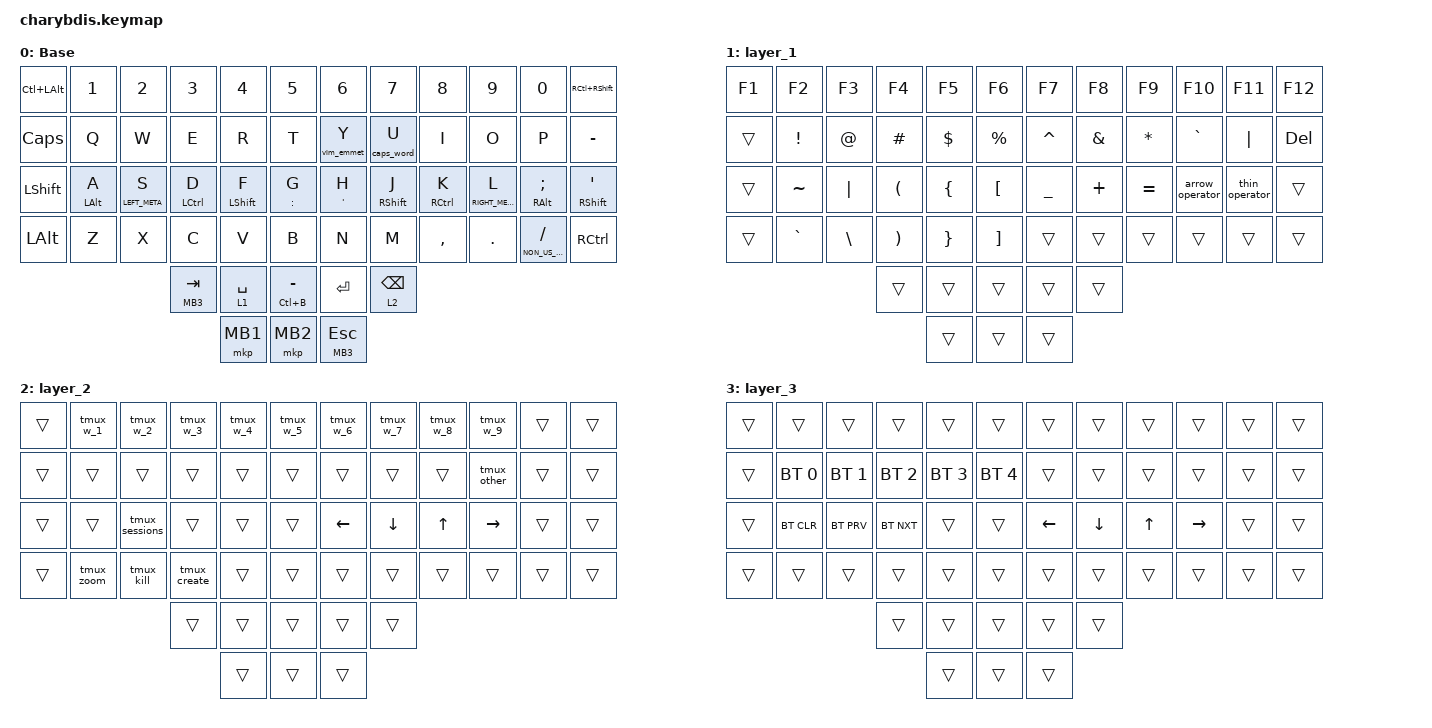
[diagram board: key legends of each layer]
#include <dt-bindings/zmk/mouse.h>
#include <behaviors.dtsi>
#include <dt-bindings/zmk/bt.h>
#include <dt-bindings/zmk/keys.h>
#include <dt-bindings/zmk/pointing.h>

&mt { flavor = "tap-preferred"; };

&lt {
    tapping-term-ms = <200>;
    flavor = "tap-preferred";
    quick-tap-ms = <150>;
};

/ {
    combos {
        compatible = "zmk,combos";

        escc {
            bindings = <&kp ESC>;
            key-positions = <17 18>;
            layers = <2>;
        };
    };

    behaviors {
        mt_mkp: mt_mkp {
            compatible = "zmk,behavior-hold-tap";
            label = "MT_MKP";
            bindings = <&mkp>, <&kp>;

            #binding-cells = <2>;
            hold-trigger-key-positions = <55>;
            flavor = "tap-preferred";
            tapping-term-ms = <250>;
        };

        mt_vim_emmet: mt_vim_emmet {
            compatible = "zmk,behavior-hold-tap";
            label = "MT_VIM_EMMET";
            bindings = <&vim_emmet>, <&kp>;

            #binding-cells = <2>;
            tapping-term-ms = <200>;
            hold-trigger-key-positions = <18>;
            flavor = "tap-preferred";
        };

        mt_capsword: mt_capsword {
            compatible = "zmk,behavior-hold-tap";
            label = "MT_CAPSWORD";
            bindings = <&caps_word>, <&kp>;

            #binding-cells = <2>;
            tapping-term-ms = <200>;
            flavor = "tap-preferred";
            hold-trigger-key-positions = <19>;
        };
    };

    macros {
        arrow_operator: arrow_operator {
            compatible = "zmk,behavior-macro";
            #binding-cells = <0>;
            bindings = <&kp EQUAL &kp GT>;
            label = "ARROW_OPERATOR";
        };

        thin_operator: thin_operator {
            compatible = "zmk,behavior-macro";
            #binding-cells = <0>;
            bindings = <&kp MINUS &kp GT>;
            label = "THIN_OPERATOR";
        };

        vim_emmet: vim_emmet {
            compatible = "zmk,behavior-macro";
            #binding-cells = <0>;
            bindings = <&kp LC(Y) &kp COMMA>;
            label = "VIM_EMMET";
        };

        tmux_zoom: vim_buffer {
            compatible = "zmk,behavior-macro";
            #binding-cells = <0>;
            bindings = <&kp LC(B) &kp Z>;
            label = "VIM_BUFFER";
        };

        tmux_other: tmux_other {
            compatible = "zmk,behavior-macro";
            #binding-cells = <0>;
            bindings = <&kp LC(B) &kp O>;
            label = "TMUX_OTHER";
        };

        tmux_kill: tmux_kill {
            compatible = "zmk,behavior-macro";
            #binding-cells = <0>;
            bindings = <&kp LC(B) &kp X>;
            label = "TMUX_KILL";
        };

        tmux_w_1: tmux_w_1 {
            compatible = "zmk,behavior-macro";
            #binding-cells = <0>;
            bindings = <&kp LC(B) &kp NUMBER_1>;
            label = "TMUX_W_1";
        };

        tmux_w_2: tmux_w_2 {
            compatible = "zmk,behavior-macro";
            #binding-cells = <0>;
            bindings = <&kp LC(B) &kp NUMBER_2>;
            label = "TMUX_W_2";
        };

        tmux_w_3: tmux_w_3 {
            compatible = "zmk,behavior-macro";
            #binding-cells = <0>;
            bindings = <&kp LC(B) &kp NUMBER_3>;
            label = "TMUX_W_3";
        };

        tmux_w_4: tmux_w_4 {
            compatible = "zmk,behavior-macro";
            #binding-cells = <0>;
            bindings = <&kp LC(B) &kp NUMBER_4>;
            label = "TMUX_W_4";
        };

        tmux_w_5: tmux_w_5 {
            compatible = "zmk,behavior-macro";
            #binding-cells = <0>;
            bindings = <&kp LC(B) &kp NUMBER_5>;
            label = "TMUX_W_5";
        };

        tmux_w_6: tmux_w_6 {
            compatible = "zmk,behavior-macro";
            #binding-cells = <0>;
            bindings = <&kp LC(B) &kp NUMBER_6>;
            label = "TMUX_W_6";
        };

        tmux_w_7: tmux_w_7 {
            compatible = "zmk,behavior-macro";
            #binding-cells = <0>;
            bindings = <&kp LC(B) &kp NUMBER_7>;
            label = "TMUX_W_7";
        };

        tmux_w_8: tmux_w_8 {
            compatible = "zmk,behavior-macro";
            #binding-cells = <0>;
            bindings = <&kp LC(B) &kp NUMBER_8>;
            label = "TMUX_W_8";
        };

        tmux_w_9: tmux_w_9 {
            compatible = "zmk,behavior-macro";
            #binding-cells = <0>;
            bindings = <&kp LC(B) &kp NUMBER_9>;
            label = "TMUX_W_9";
        };

        tmux_create: tmux_create {
            compatible = "zmk,behavior-macro";
            #binding-cells = <0>;
            bindings = <&kp LC(B) &kp C>;
            label = "TMUX_CREATE";
        };

        tmux_left: tmux_left {
            compatible = "zmk,behavior-macro";
            #binding-cells = <0>;
            bindings = <&kp LC(B) &kp LEFT>;
            label = "TMUX_LEFT";
        };

        tmux_down: tmux_down {
            compatible = "zmk,behavior-macro";
            #binding-cells = <0>;
            bindings = <&kp LC(B) &kp DOWN_ARROW>;
            label = "TMUX_DOWN";
        };

        tmux_up: tmux_up {
            compatible = "zmk,behavior-macro";
            #binding-cells = <0>;
            bindings = <&kp LC(B) &kp UP_ARROW>;
            label = "TMUX_UP";
        };

        tmux_right: tmux_right {
            compatible = "zmk,behavior-macro";
            #binding-cells = <0>;
            bindings = <&kp LC(B) &kp RIGHT_ARROW>;
            label = "TMUX_RIGHT";
        };

        tmux_sessions: tmux_sessions {
            compatible = "zmk,behavior-macro";
            #binding-cells = <0>;
            bindings = <&kp LC(B) &kp S>;
            label = "TMUX_SESSIONS";
        };
    };

    keymap {
        compatible = "zmk,keymap";

        Base {
            bindings = <
&kp LC(LEFT_ALT)  &kp N1          &kp N2           &kp N3           &kp N4            &kp N5             &kp N6             &kp N7             &kp N8       &kp N9            &kp N0                      &kp RC(RIGHT_SHIFT)
&kp CAPS          &kp Q           &kp W            &kp E            &kp R             &kp T              &mt_vim_emmet 0 Y  &mt_capsword 0 U   &kp I        &kp O             &kp P                       &kp MINUS
&kp LEFT_SHIFT    &mt LEFT_ALT A  &mt LEFT_META S  &mt LCTRL D      &mt LEFT_SHIFT F  &mt COLON G        &mt SQT H          &mt RIGHT_SHIFT J  &mt RCTRL K  &mt RIGHT_META L  &mt RIGHT_ALT SEMI          &mt RIGHT_SHIFT SQT
&kp LEFT_ALT      &kp Z           &kp X            &kp C            &kp V             &kp B              &kp N              &kp M              &kp COMMA    &kp DOT           &mt NON_US_BACKSLASH SLASH  &kp RIGHT_CONTROL
                                                   &mt_mkp MB3 TAB  &lt 1 SPACE       &mt LC(B) MINUS    &kp ENTER          &lt 2 BACKSPACE
                                                                    &mkp MB1          &mkp MB2           &mt_mkp MB3 ESC
            >;
        };

        layer_1 {
            bindings = <
&kp F1  &kp F2           &kp F3         &kp F4                 &kp F5           &kp F6               &kp F7     &kp F8         &kp F9        &kp F10          &kp F11         &kp F12
&trans  &kp EXCLAMATION  &kp AT_SIGN    &kp HASH               &kp DOLLAR       &kp PERCENT          &kp CARET  &kp AMPERSAND  &kp ASTERISK  &kp GRAVE        &kp PIPE        &kp DELETE
&trans  &kp TILDE        &kp PIPE       &kp LEFT_PARENTHESIS   &kp LEFT_BRACE   &kp LBKT             &kp UNDER  &kp PLUS       &kp EQUAL     &arrow_operator  &thin_operator  &trans
&trans  &kp GRAVE        &kp BACKSLASH  &kp RIGHT_PARENTHESIS  &kp RIGHT_BRACE  &kp RIGHT_BRACKET    &trans     &trans         &trans        &trans           &trans          &trans
                                        &trans                 &trans           &trans               &trans     &trans
                                                               &trans           &trans               &trans
            >;
        };

        layer_2 {
            bindings = <
&trans  &tmux_w_1   &tmux_w_2       &tmux_w_3     &tmux_w_4  &tmux_w_5    &tmux_w_6  &tmux_w_7  &tmux_w_8  &tmux_w_9    &trans  &trans
&trans  &trans      &trans          &trans        &trans     &trans       &trans     &trans     &trans     &tmux_other  &trans  &trans
&trans  &trans      &tmux_sessions  &trans        &trans     &trans       &kp LEFT   &kp DOWN   &kp UP     &kp RIGHT    &trans  &trans
&trans  &tmux_zoom  &tmux_kill      &tmux_create  &trans     &trans       &trans     &trans     &trans     &trans       &trans  &trans
                                    &trans        &trans     &trans       &trans     &trans
                                                  &trans     &trans       &trans
            >;
        };

        layer_3 {
            bindings = <
&trans  &trans        &trans        &trans        &trans        &trans          &trans    &trans          &trans        &trans           &trans  &trans
&trans  &bt BT_SEL 0  &bt BT_SEL 1  &bt BT_SEL 2  &bt BT_SEL 3  &bt BT_SEL 4    &trans    &trans          &trans        &trans           &trans  &trans
&trans  &bt BT_CLR    &bt BT_PRV    &bt BT_NXT    &trans        &trans          &kp LEFT  &kp DOWN_ARROW  &kp UP_ARROW  &kp RIGHT_ARROW  &trans  &trans
&trans  &trans        &trans        &trans        &trans        &trans          &trans    &trans          &trans        &trans           &trans  &trans
                                    &trans        &trans        &trans          &trans    &trans
                                                  &trans        &trans          &trans
            >;
        };
    };

    conditional_layers {
        compatible = "zmk,conditional-layers";

        SYSTEM {
            if-layers = <1 2>;
            then-layer = <3>;
        };
    };
};
